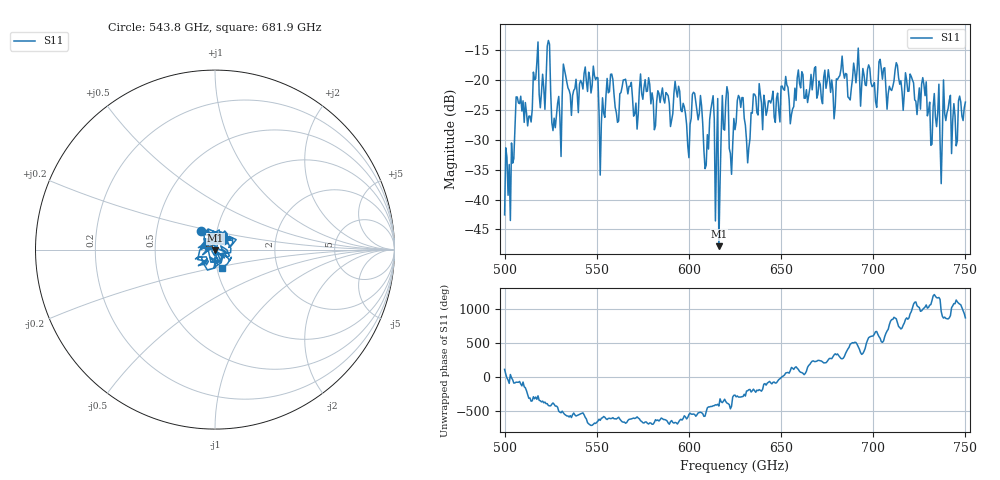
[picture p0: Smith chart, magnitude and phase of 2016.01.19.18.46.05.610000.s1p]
!Created with skrf (http://scikit-rf.org).
# GHz S RI R 50.0
!freq ReS11 ImS11
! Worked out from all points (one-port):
!   401 points, 500 GHz to 750 GHz, reference 50 ohm
!   lowest |S11| = -47.8 dB at 616.2 GHz (marker M1), VSWR 1.01, Z = 50.2 - j0.376 ohm
!   |S11| at or under -10 dB: start of sweep to end of sweep
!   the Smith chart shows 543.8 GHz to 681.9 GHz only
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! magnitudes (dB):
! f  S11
! 500 GHz  -42.6
! 507.5 GHz  -23.8
! 513.8 GHz  -26.0
! 516.9 GHz  -19.8
! 520.6 GHz  -19.1
! 523.8 GHz  -13.4
! 526.9 GHz  -26.4
! 531.2 GHz  -22.5
! 549.4 GHz  -20.0
! 552.5 GHz  -27.2
! 556.9 GHz  -22.0
! 562.5 GHz  -22.3
! 593.8 GHz  -22.9
! 600 GHz  -33.0
! 603.1 GHz  -22.3
! 609.4 GHz  -34.3
! 612.5 GHz  -23.8
! 615.6 GHz  -23.1
! 616.2 GHz  -47.8
! 619.4 GHz  -28.4
! 623.1 GHz  -35.8
! 625 GHz  -28.3
! 656.2 GHz  -24.9
! 660.6 GHz  -21.3
! 687.5 GHz  -23.4
! 718.8 GHz  -21.9
! 736.2 GHz  -30.3
! 750 GHz  -23.7
